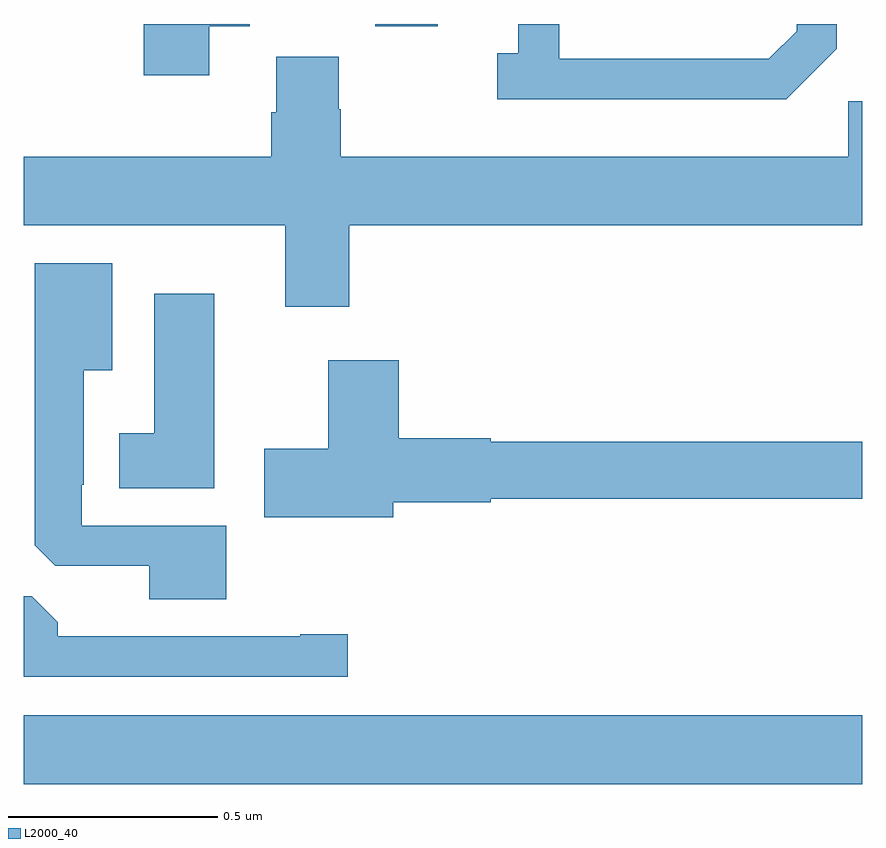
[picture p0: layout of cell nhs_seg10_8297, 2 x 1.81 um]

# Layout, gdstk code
import gdstk
lib = gdstk.Library(unit=1e-6, precision=1e-09)
def R(c, l, rs):  # rectangles x0, y0, x1, y1
    for r in rs: c.add(gdstk.rectangle(r[:2], r[2:], *l))
def P(c, l, *ps):  # polygons
    for p in ps: c.add(gdstk.Polygon(p, *l))
L2000_40 = (2000, 40)

nhs_seg10_8297 = lib.new_cell('nhs_seg10_8297')
R(nhs_seg10_8297, L2000_40, [(215,1261.688,217,1261.852), (215.839,1263.495,215.987,1263.5)])
P(nhs_seg10_8297, L2000_40, [(215.443,1263.495),(215.539,1263.495),(215.539,1263.5),(215.287,1263.5),(215.287,1263.378),(215.443,1263.378)],
  [(216.939,1263.441),(216.939,1263.5),(216.843,1263.5),(216.843,1263.483),(216.777,1263.417),(216.277,1263.417),(216.277,1263.5),(216.18,1263.5),(216.18,1263.43),(216.129,1263.43),(216.129,1263.32),(216.818,1263.32)],
  [(215.777,1263.02),(217,1263.02),(217,1263.316),(216.966,1263.316),(216.966,1263.184),(215.756,1263.184),(215.756,1263.297),(215.751,1263.297),(215.751,1263.422),(215.603,1263.422),(215.603,1263.29),(215.591,1263.29),(215.591,1263.184),(215,1263.184),(215,1263.02),(215.624,1263.02),(215.624,1262.826),(215.777,1262.826)],
  [(215.483,1262.304),(215.139,1262.304),(215.139,1262.401),(215.143,1262.401),(215.143,1262.675),(215.212,1262.675),(215.212,1262.929),(215.027,1262.929),(215.027,1262.257),(215.076,1262.208),(215.3,1262.208),(215.3,1262.129),(215.483,1262.129)],
  [(215.455,1262.857),(215.312,1262.857),(215.312,1262.524),(215.228,1262.524),(215.228,1262.393),(215.455,1262.393)],
  [(215.881,1262.36),(216.114,1262.36),(216.114,1262.368),(217,1262.368),(217,1262.504),(216.114,1262.504),(216.114,1262.512),(215.894,1262.512),(215.894,1262.698),(215.726,1262.698),(215.726,1262.487),(215.574,1262.487),(215.574,1262.324),(215.881,1262.324)],
  [(215.773,1262.045),(215.66,1262.045),(215.66,1262.04),(215.081,1262.04),(215.081,1262.074),(215.019,1262.136),(215,1262.136),(215,1261.944),(215.773,1261.944)])

lib.write_gds('nhs_seg10_8297.gds')
